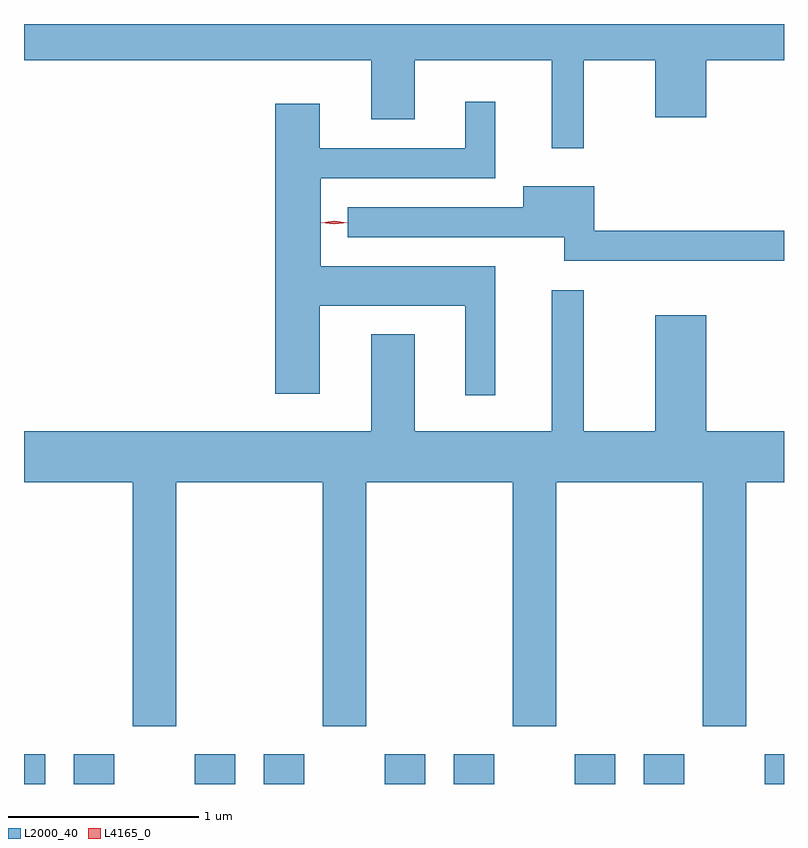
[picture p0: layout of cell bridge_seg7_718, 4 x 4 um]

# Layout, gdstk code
import gdstk
lib = gdstk.Library(unit=1e-6, precision=1e-09)
def R(c, l, rs):  # rectangles x0, y0, x1, y1
    for r in rs: c.add(gdstk.rectangle(r[:2], r[2:], *l))
def P(c, l, *ps):  # polygons
    for p in ps: c.add(gdstk.Polygon(p, *l))
L2000_40 = (2000, 40)
L4165_0 = (4165, 0)

bridge_seg7_718 = lib.new_cell('bridge_seg7_718')
R(bridge_seg7_718, L2000_40, [(551.413,1801.528,551.524,1801.684), (551.676,1801.528,551.889,1801.684), (552.311,1801.528,552.524,1801.684), (552.676,1801.528,552.889,1801.684), (553.311,1801.528,553.524,1801.684), (553.676,1801.528,553.889,1801.684), (554.311,1801.528,554.524,1801.684), (554.676,1801.528,554.889,1801.684), (555.311,1801.528,555.413,1801.684)])
P(bridge_seg7_718, L2000_40, [(554.359,1805.336),(554.736,1805.336),(554.736,1805.036),(555.004,1805.036),(555.004,1805.336),(555.413,1805.336),(555.413,1805.528),(551.413,1805.528),(551.413,1805.336),(553.241,1805.336),(553.241,1805.026),(553.469,1805.026),(553.469,1805.336),(554.191,1805.336),(554.191,1804.873),(554.359,1804.873)],
  [(553.894,1804.254),(552.974,1804.254),(552.974,1804.716),(553.894,1804.716),(553.894,1805.118),(553.736,1805.118),(553.736,1804.874),(552.969,1804.874),(552.969,1805.109),(552.736,1805.109),(552.736,1803.581),(552.969,1803.581),(552.969,1804.046),(553.736,1804.046),(553.736,1803.573),(553.894,1803.573)],
  [(555.413,1804.439),(554.414,1804.439),(554.414,1804.674),(554.041,1804.674),(554.041,1804.564),(553.118,1804.564),(553.118,1804.406),(554.256,1804.406),(554.256,1804.281),(555.413,1804.281)],
  [(552.214,1803.116),(552.986,1803.116),(552.986,1801.831),(553.214,1801.831),(553.214,1803.116),(553.986,1803.116),(553.986,1801.831),(554.214,1801.831),(554.214,1803.116),(554.986,1803.116),(554.986,1801.831),(555.214,1801.831),(555.214,1803.116),(555.413,1803.116),(555.413,1803.384),(555.004,1803.384),(555.004,1803.994),(554.736,1803.994),(554.736,1803.384),(554.359,1803.384),(554.359,1804.128),(554.191,1804.128),(554.191,1803.384),(553.469,1803.384),(553.469,1803.894),(553.241,1803.894),(553.241,1803.384),(551.413,1803.384),(551.413,1803.116),(551.986,1803.116),(551.986,1801.831),(552.214,1801.831)])
P(bridge_seg7_718, L4165_0, [(553.047,1804.473),(552.981,1804.482),(552.98,1804.483),(552.981,1804.483),(553.047,1804.493),(553.112,1804.483),(553.113,1804.483),(553.112,1804.482)],
  [(553.047,1804.473),(552.978,1804.482),(552.977,1804.483),(552.978,1804.483),(553.047,1804.493),(553.116,1804.483),(553.116,1804.483),(553.116,1804.482)])

lib.write_gds('bridge_seg7_718.gds')
